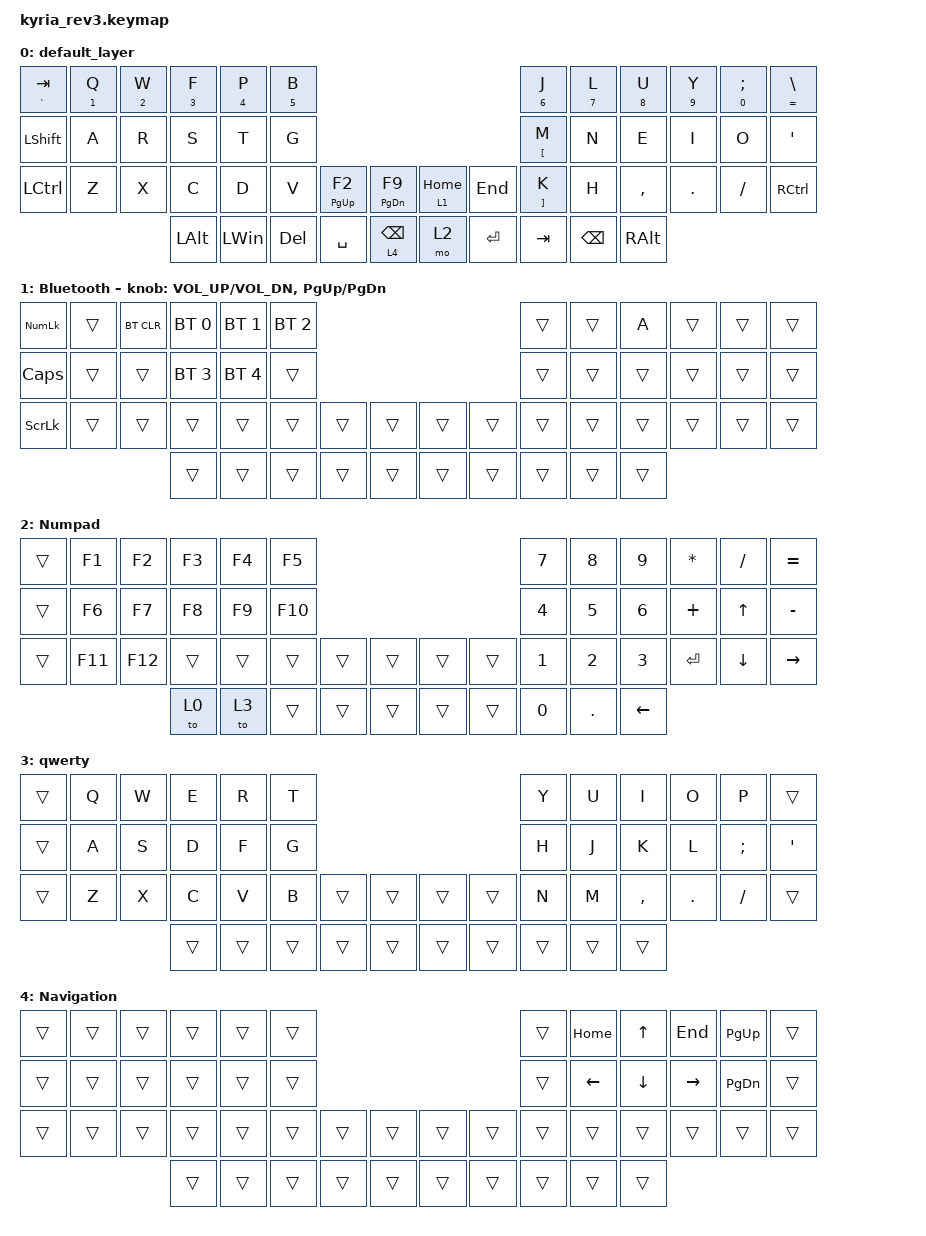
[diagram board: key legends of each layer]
/*
 * Copyright (c) 2023 The ZMK Contributors
 *
 * SPDX-License-Identifier: MIT
 */

#include <behaviors.dtsi>
#include <dt-bindings/zmk/bt.h>
#include <dt-bindings/zmk/keys.h>

/* Uncomment this block if using RGB
&led_strip {
    chain-length = <6>;
    // chain-length = <31>; // Uncomment if using both per-key and underglow LEDs
    // chain-length = <25>; // Uncomment if using only per-key LEDs.
};
 */

/ {
    combos {
        compatible = "zmk,combos";

        Combo_escape {
            bindings = <&kp ESCAPE>;
            key-positions = <16 15 14>;
            timeout-ms = <150>;
            layers = <0 2 3 1>;
        };
    };

    behaviors {
        Hold: Hold {
            compatible = "zmk,behavior-hold-tap";
            label = "HOLD";
            bindings = <&kp>, <&kp>;

            #binding-cells = <2>;
            hold-trigger-key-positions = <1 0 1 2 3 4 5 6 7 8 9 10 11 33 31 30 18 34>;
            tapping-term-ms = <200>;
            flavor = "tap-preferred";
        };

        HoldLayer: HoldLayer {
            compatible = "zmk,behavior-hold-tap";
            label = "HOLDLAYER";
            bindings = <&mo>, <&kp>;

            #binding-cells = <2>;
            tapping-term-ms = <1000>;
            flavor = "tap-preferred";
            hold-trigger-key-positions = <32 44>;
        };
    };

    keymap {
        compatible = "zmk,keymap";

        default_layer {
            // ---------------------------------------------------------------------------------------------------------------------------------
            // |  ESC  |  Q  |  W  |  E   |  R   |  T   |                                          |  Y   |  U    |  I    |  O   |   P   |   \  |
            // |  TAB  |  A  |  S  |  D   |  F   |  G   |                                          |  H   |  J    |  K    |  L   |   ;   |   '  |
            // | SHIFT |  Z  |  X  |  C   |  V   |  B   | L SHIFT | L SHIFT |  | LAYER 1 | L SHIFT |  N   |  M    |  ,    |  .   |   /   | CTRL |
            //                     | GUI  | DEL  | RET  |  SPACE  |   ESC   |  |   RET   |  SPACE  | TAB  | BSPC  | R-ALT |

            bindings = <
&Hold GRAVE TAB   &Hold NUMBER_1 Q  &Hold NUMBER_2 W  &Hold NUMBER_3 F  &Hold NUMBER_4 P  &Hold N5 B                                                                          &Hold NUMBER_6 J       &Hold N7 L  &Hold N8 U  &Hold N9 Y  &Hold N0 SEMICOLON  &Hold EQUAL BACKSLASH
&kp LEFT_SHIFT    &kp A             &kp R             &kp S             &kp T             &kp G                                                                               &Hold LEFT_BRACKET M   &kp N       &kp E       &kp I       &kp O               &kp SQT
&kp LEFT_CONTROL  &kp Z             &kp X             &kp C             &kp D             &kp V       &Hold PAGE_UP F2  &Hold PAGE_DOWN F9      &HoldLayer 1 HOME  &kp END    &Hold RIGHT_BRACKET K  &kp H       &kp COMMA   &kp DOT     &kp FSLH            &kp RCTRL
                                                      &kp LEFT_ALT      &kp LEFT_WIN      &kp DELETE  &kp SPACE         &HoldLayer 4 BACKSPACE  &mo 2              &kp ENTER  &kp TAB                &kp BSPC    &kp RALT
            >;
        };

        Bluetooth {
            // ---------------------------------------------------------------------------------------------------------------------------------
            // |       |      |BT_CLR|BTSEL0|BTSEL1|BTSEL2|                                         |      |      |      |      |      |      |
            // |       |      |      |BTSEL3|BTSEL4|      |                                         |      |      |      |      |      |      |
            // |       |      |      |      |      |      |      |      |      |      |      |      |      |      |      |      |      |      |
            //                       |      |      |      |      |      |      |      |      |      |      |      |      |

            bindings = <
&kp KP_NUMLOCK  &trans  &bt BT_CLR  &bt BT_SEL 0  &bt BT_SEL 1  &bt BT_SEL 2                                  &trans  &trans  &kp A   &trans  &trans  &trans
&kp CAPSLOCK    &trans  &trans      &bt BT_SEL 3  &bt BT_SEL 4  &trans                                        &trans  &trans  &trans  &trans  &trans  &trans
&kp SCROLLLOCK  &trans  &trans      &trans        &trans        &trans        &trans  &trans  &trans  &trans  &trans  &trans  &trans  &trans  &trans  &trans
                                    &trans        &trans        &trans        &trans  &trans  &trans  &trans  &trans  &trans  &trans
            >;

            sensor-bindings = <&inc_dec_kp C_VOL_UP C_VOL_DN &inc_dec_kp PG_UP PG_DN>;
        };

        Numpad {
            bindings = <
&trans  &kp F1   &kp F2   &kp F3  &kp F4  &kp F5                                   &kp N7        &kp N8        &kp N9          &kp ASTERISK  &kp SLASH       &kp EQUAL
&trans  &kp F6   &kp F7   &kp F8  &kp F9  &kp F10                                  &kp NUMBER_4  &kp N5        &kp NUMBER_6    &kp PLUS      &kp UP_ARROW    &kp MINUS
&trans  &kp F11  &kp F12  &trans  &trans  &trans   &trans  &trans  &trans  &trans  &kp NUMBER_1  &kp NUMBER_2  &kp NUMBER_3    &kp ENTER     &kp DOWN_ARROW  &kp RIGHT_ARROW
                          &to 0   &to 3   &trans   &trans  &trans  &trans  &trans  &kp N0        &kp PERIOD    &kp LEFT_ARROW
            >;
        };

        qwerty {
            bindings = <
&trans  &kp Q  &kp W  &kp E   &kp R   &kp T                                   &kp Y   &kp U   &kp I      &kp O    &kp P     &trans
&trans  &kp A  &kp S  &kp D   &kp F   &kp G                                   &kp H   &kp J   &kp K      &kp L    &kp SEMI  &kp APOS
&trans  &kp Z  &kp X  &kp C   &kp V   &kp B   &trans  &trans  &trans  &trans  &kp N   &kp M   &kp COMMA  &kp DOT  &kp FSLH  &trans
                      &trans  &trans  &trans  &trans  &trans  &trans  &trans  &trans  &trans  &trans
            >;
        };

        Navigation {
            bindings = <
&trans  &trans  &trans  &trans  &trans  &trans                                  &trans  &kp HOME  &kp UP    &kp END    &kp PG_UP  &trans
&trans  &trans  &trans  &trans  &trans  &trans                                  &trans  &kp LEFT  &kp DOWN  &kp RIGHT  &kp PG_DN  &trans
&trans  &trans  &trans  &trans  &trans  &trans  &trans  &trans  &trans  &trans  &trans  &trans    &trans    &trans     &trans     &trans
                        &trans  &trans  &trans  &trans  &trans  &trans  &trans  &trans  &trans    &trans
            >;
        };
    };
};
